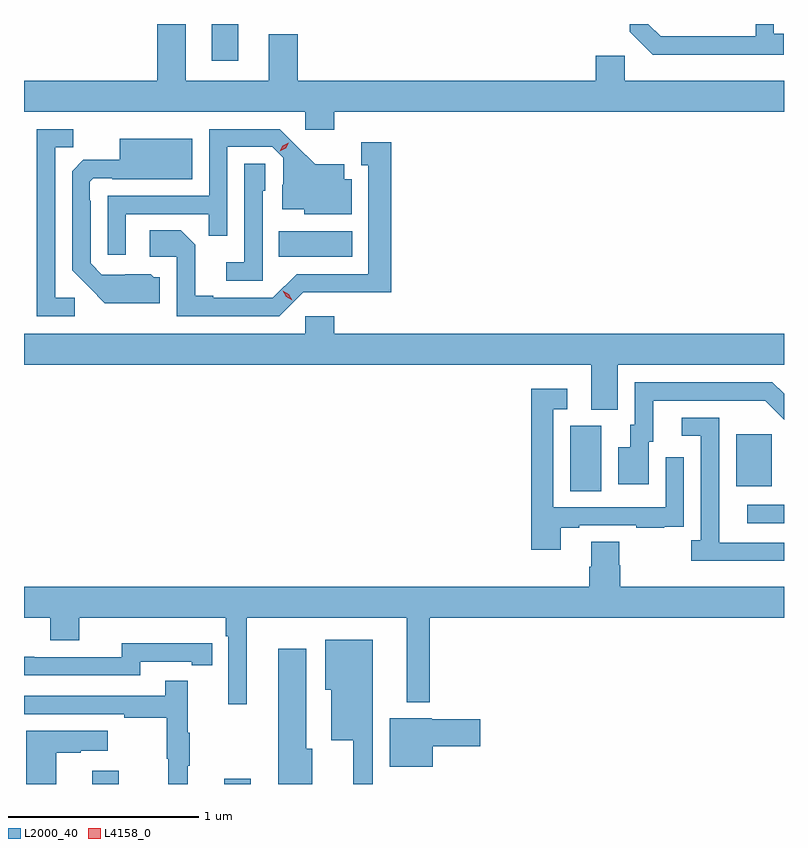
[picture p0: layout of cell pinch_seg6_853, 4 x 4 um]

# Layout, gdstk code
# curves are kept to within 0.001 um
import gdstk
lib = gdstk.Library(unit=1e-6, precision=1e-09)
def R(c, l, rs):  # rectangles x0, y0, x1, y1
    for r in rs: c.add(gdstk.rectangle(r[:2], r[2:], *l))
def P(c, l, *ps):  # polygons
    for p in ps: c.add(gdstk.Polygon(p, *l))
L2000_40 = (2000, 40)
L4158_0 = (4158, 0)

pinch_seg6_853 = lib.new_cell('pinch_seg6_853')
R(pinch_seg6_853, L2000_40, [(118.181,918.49,118.321,918.559), (118.877,918.49,119.017,918.517), (121.629,919.863,121.823,919.959), (120.698,920.032,120.862,920.376), (121.571,920.057,121.759,920.332), (119.164,921.266,119.551,921.4), (118.811,922.296,118.951,922.49)])
P(pinch_seg6_853, L2000_40, [(119.456,922.028),(121.823,922.028),(121.823,922.192),(120.984,922.192),(120.984,922.324),(120.833,922.324),(120.833,922.192),(119.264,922.192),(119.264,922.435),(119.111,922.435),(119.111,922.192),(118.675,922.192),(118.675,922.49),(118.523,922.49),(118.523,922.192),(117.823,922.192),(117.823,922.028),(119.304,922.028),(119.304,921.933),(119.456,921.933)],
  [(121.822,922.438),(121.77,922.438),(121.77,922.49),(121.673,922.49),(121.673,922.425),(121.173,922.425),(121.108,922.49),(121.011,922.49),(121.011,922.449),(121.132,922.328),(121.822,922.328)],
  [(118.09,921.048),(117.987,921.048),(117.987,921.841),(118.083,921.841),(118.083,921.936),(117.891,921.936),(117.891,920.952),(118.09,920.952)],
  [(118.359,921.489),(118.795,921.489),(118.795,921.376),(118.893,921.376),(118.893,921.843),(119.13,921.843),(119.187,921.786),(119.187,921.644),(119.183,921.644),(119.183,921.515),(119.298,921.515),(119.298,921.488),(119.548,921.488),(119.548,921.672),(119.509,921.672),(119.509,921.751),(119.357,921.751),(119.17,921.936),(118.797,921.936),(118.797,921.585),(118.263,921.585),(118.263,921.276),(118.359,921.276)],
  [(118.537,921.156),(118.506,921.156),(118.49,921.172),(118.233,921.171),(118.173,921.231),(118.173,921.56),(118.17,921.56),(118.17,921.66),(118.188,921.678),(118.288,921.678),(118.288,921.674),(118.708,921.674),(118.708,921.886),(118.328,921.886),(118.328,921.775),(118.136,921.775),(118.077,921.716),(118.077,921.194),(118.249,921.02),(118.537,921.02)],
  [(119.292,921.078),(119.755,921.077),(119.755,921.868),(119.597,921.868),(119.597,921.747),(119.636,921.747),(119.636,921.174),(119.259,921.174),(119.133,921.048),(118.819,921.048),(118.819,921.061),(118.725,921.061),(118.725,921.328),(118.649,921.404),(118.485,921.404),(118.485,921.264),(118.626,921.264),(118.626,920.952),(119.166,920.952)],
  [(119.079,921.612),(119.094,921.612),(119.094,921.755),(118.983,921.755),(118.983,921.235),(118.887,921.235),(118.887,921.138),(119.079,921.138)],
  [(120.949,920.696),(121.823,920.696),(121.823,920.86),(119.456,920.86),(119.456,920.953),(119.304,920.953),(119.304,920.86),(117.823,920.86),(117.823,920.696),(120.809,920.696),(120.809,920.461),(120.949,920.461)],
  [(121.111,920.292),(121.135,920.292),(121.135,920.508),(121.723,920.508),(121.823,920.407),(121.823,920.543),(121.762,920.604),(121.038,920.604),(121.038,920.382),(121.013,920.382),(121.013,920.263),(120.95,920.263),(120.95,920.067),(121.111,920.067)],
  [(120.649,919.839),(120.745,919.839),(120.745,919.851),(121.045,919.851),(121.045,919.839),(121.193,919.839),(121.193,919.845),(121.295,919.845),(121.295,919.954),(121.296,919.954),(121.296,920.209),(121.2,920.209),(121.2,919.947),(120.609,919.947),(120.609,920.463),(120.682,920.463),(120.682,920.569),(120.493,920.569),(120.493,919.722),(120.649,919.722)],
  [(121.823,919.761),(121.483,919.761),(121.483,919.961),(121.482,919.961),(121.482,920.418),(121.284,920.418),(121.284,920.322),(121.386,920.322),(121.386,919.774),(121.335,919.774),(121.335,919.664),(121.823,919.664)],
  [(118.996,919.364),(119.837,919.364),(119.837,918.92),(119.959,918.92),(119.959,919.364),(121.823,919.364),(121.823,919.528),(120.962,919.528),(120.962,919.641),(120.957,919.641),(120.957,919.766),(120.809,919.766),(120.809,919.634),(120.797,919.634),(120.797,919.528),(117.823,919.528),(117.823,919.364),(117.962,919.364),(117.962,919.247),(118.114,919.247),(118.114,919.364),(118.886,919.364),(118.886,919.268),(118.899,919.268),(118.899,918.909),(118.996,918.909)],
  [(119.659,919.249),(119.408,919.249),(119.408,918.986),(119.441,918.986),(119.441,918.719),(119.555,918.719),(119.555,918.49),(119.659,918.49)],
  [(118.434,919.134),(118.706,919.134),(118.706,919.114),(118.814,919.114),(118.814,919.23),(118.706,919.23),(118.706,919.231),(118.338,919.231),(118.338,919.158),(117.878,919.158),(117.878,919.16),(117.823,919.16),(117.823,919.062),(118.434,919.062)],
  [(119.341,918.676),(119.308,918.676),(119.308,919.201),(119.162,919.201),(119.162,918.49),(119.341,918.49)],
  [(118.685,918.587),(118.696,918.587),(118.696,918.761),(118.685,918.761),(118.685,919.033),(118.567,919.033),(118.567,918.954),(117.823,918.954),(117.823,918.858),(118.351,918.858),(118.351,918.838),(118.575,918.838),(118.575,918.624),(118.582,918.624),(118.582,918.49),(118.685,918.49)],
  [(119.974,918.688),(120.223,918.688),(120.223,918.83),(119.97,918.83),(119.97,918.835),(119.747,918.835),(119.747,918.581),(119.974,918.581)],
  [(117.994,918.655),(118.121,918.655),(118.121,918.665),(118.264,918.665),(118.264,918.769),(117.836,918.769),(117.836,918.49),(117.994,918.49)])
P(pinch_seg6_853, L4158_0, [(119.234,921.035),(119.202,921.054),(119.185,921.086),(119.185,921.086),(119.185,921.086),(119.217,921.068),(119.234,921.035),(119.234,921.035)],
  [(119.17,921.82),(119.17,921.82),(119.186,921.85),(119.217,921.865),(119.217,921.865),(119.217,921.865),(119.2,921.835),(119.17,921.82)])

lib.write_gds('pinch_seg6_853.gds')
